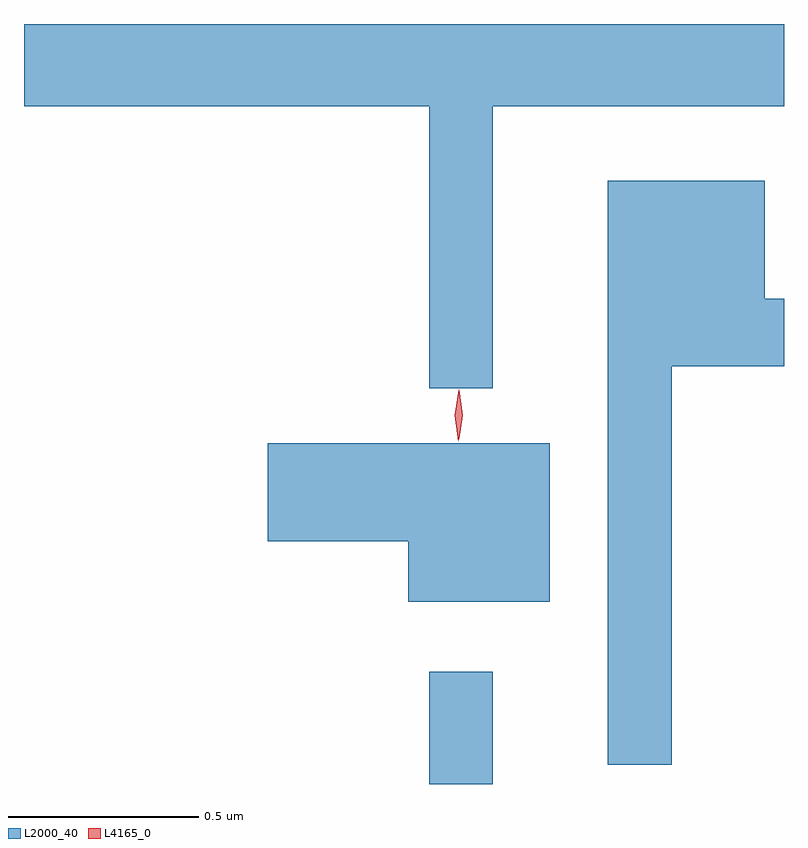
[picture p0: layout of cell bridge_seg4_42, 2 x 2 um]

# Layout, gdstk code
import gdstk
lib = gdstk.Library(unit=1e-6, precision=1e-09)
def R(c, l, rs):  # rectangles x0, y0, x1, y1
    for r in rs: c.add(gdstk.rectangle(r[:2], r[2:], *l))
def P(c, l, *ps):  # polygons
    for p in ps: c.add(gdstk.Polygon(p, *l))
L2000_40 = (2000, 40)
L4165_0 = (4165, 0)

bridge_seg4_42 = lib.new_cell('bridge_seg4_42')
R(bridge_seg4_42, L2000_40, [(1291.311,1370.652,1291.479,1370.948)])
P(bridge_seg4_42, L2000_40, [(1291.479,1372.436),(1292.245,1372.436),(1292.245,1372.652),(1290.245,1372.652),(1290.245,1372.436),(1291.311,1372.436),(1291.311,1371.693),(1291.479,1371.693)],
  [(1291.949,1371.751),(1292.245,1371.751),(1292.245,1371.929),(1292.194,1371.929),(1292.194,1372.239),(1291.781,1372.239),(1291.781,1370.703),(1291.949,1370.703)],
  [(1291.629,1371.549),(1290.886,1371.549),(1290.886,1371.291),(1291.256,1371.291),(1291.256,1371.131),(1291.629,1371.131)])
P(bridge_seg4_42, L4165_0, [(1291.388,1371.554),(1291.388,1371.554),(1291.379,1371.622),(1291.389,1371.69),(1291.39,1371.69),(1291.39,1371.69),(1291.399,1371.622),(1291.388,1371.554)],
  [(1291.389,1371.56),(1291.38,1371.623),(1291.389,1371.686),(1291.39,1371.687),(1291.39,1371.686),(1291.4,1371.623),(1291.39,1371.56),(1291.39,1371.56)])

lib.write_gds('bridge_seg4_42.gds')
